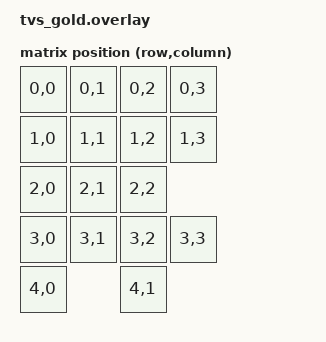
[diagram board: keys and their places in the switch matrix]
#include <dt-bindings/zmk/matrix_transform.h>

// numpad.overlay
/ {
    chosen {
        zmk,kscan = &kscan0;
        zmk,matrix-transform = &default_transform;
    };

    kscan0: kscan {
        compatible = "zmk,kscan-gpio-matrix";
        // define row-gpios with 5 elements and col-gpios with 4...
    };

    default_transform: matrix_transform {
        compatible = "zmk,matrix-transform";
        rows = <5>;
        columns = <4>;
        // ┌───┬───┬───┬───┐
        // │NUM│ / │ * │ - │
        // ├───┼───┼───┼───┤
        // │ 7 │ 8 │ 9 │ + │
        // ├───┼───┼───┤   │
        // │ 4 │ 5 │ 6 │   │
        // ├───┼───┼───┼───┤
        // │ 1 │ 2 │ 3 │RET│
        // ├───┴───┼───┤   │
        // │ 0     │ . │   │
        // └───────┴───┴───┘
        map = <
            RC(0,0) RC(0,1) RC(0,2) RC(0,3)
            RC(1,0) RC(1,1) RC(1,2) RC(1,3)
            RC(2,0) RC(2,1) RC(2,2)
            RC(3,0) RC(3,1) RC(3,2) RC(3,3)
            RC(4,0)         RC(4,1)
        >;
    };
};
